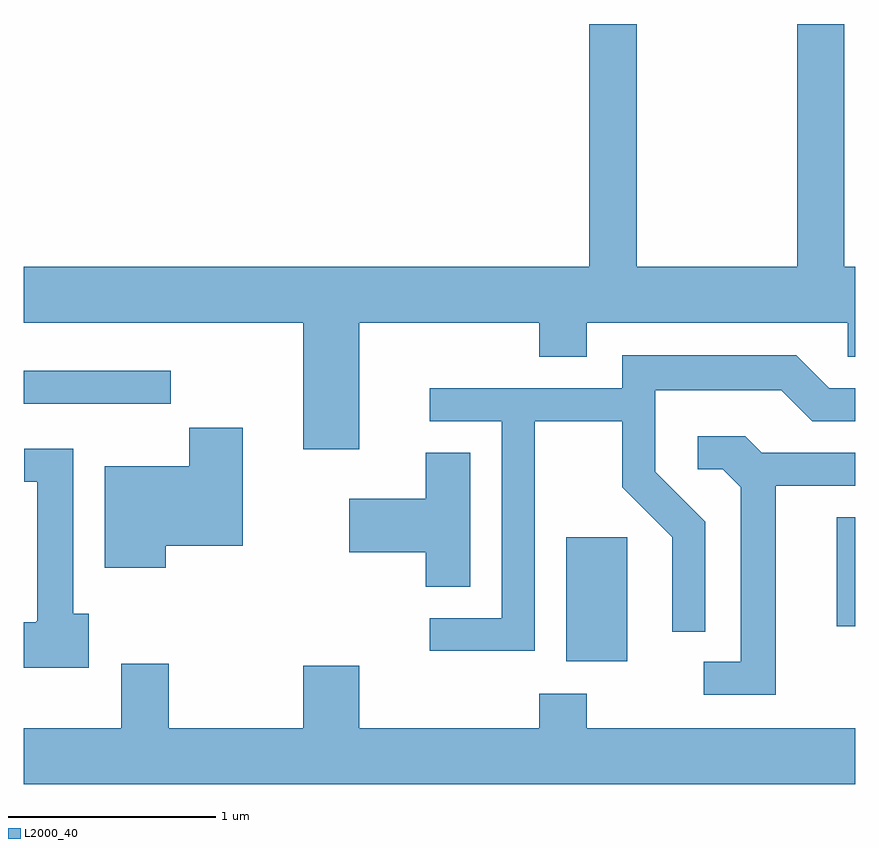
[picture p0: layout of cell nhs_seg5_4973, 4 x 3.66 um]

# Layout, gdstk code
import gdstk
lib = gdstk.Library(unit=1e-6, precision=1e-09)
def R(c, l, rs):  # rectangles x0, y0, x1, y1
    for r in rs: c.add(gdstk.rectangle(r[:2], r[2:], *l))
def P(c, l, *ps):  # polygons
    for p in ps: c.add(gdstk.Polygon(p, *l))
L2000_40 = (2000, 40)

nhs_seg5_4973 = lib.new_cell('nhs_seg5_4973')
R(nhs_seg5_4973, L2000_40, [(336.221,1393.006,336.514,1393.604), (337.521,1393.176,337.611,1393.699), (333.611,1394.246,334.318,1394.404)])
P(nhs_seg5_4973, L2000_40, [(335.224,1394.636),(336.091,1394.636),(336.091,1394.471),(336.319,1394.471),(336.319,1394.636),(337.576,1394.636),(337.576,1394.471),(337.611,1394.471),(337.611,1394.904),(337.559,1394.904),(337.559,1396.072),(337.331,1396.072),(337.331,1394.904),(336.559,1394.904),(336.559,1396.072),(336.331,1396.072),(336.331,1394.904),(333.611,1394.904),(333.611,1394.636),(334.956,1394.636),(334.956,1394.026),(335.224,1394.026)],
  [(336.069,1394.161),(336.491,1394.161),(336.491,1393.844),(336.731,1393.604),(336.731,1393.148),(336.889,1393.148),(336.889,1393.677),(336.649,1393.917),(336.649,1394.311),(337.254,1394.311),(337.404,1394.161),(337.611,1394.161),(337.611,1394.319),(337.487,1394.319),(337.327,1394.479),(336.491,1394.479),(336.491,1394.319),(335.563,1394.319),(335.563,1394.161),(335.911,1394.161),(335.911,1393.214),(335.563,1393.214),(335.563,1393.056),(336.069,1393.056)],
  [(334.294,1393.561),(334.664,1393.561),(334.664,1394.129),(334.406,1394.129),(334.406,1393.944),(334.001,1393.944),(334.001,1393.456),(334.294,1393.456)],
  [(337.229,1393.851),(337.611,1393.851),(337.611,1394.009),(337.162,1394.009),(337.082,1394.089),(336.853,1394.089),(336.853,1393.931),(336.974,1393.931),(337.061,1393.844),(337.061,1393.004),(336.883,1393.004),(336.883,1392.846),(337.229,1392.846)],
  [(333.924,1393.234),(333.849,1393.234),(333.849,1394.029),(333.613,1394.029),(333.613,1393.871),(333.676,1393.871),(333.676,1393.2),(333.67,1393.2),(333.67,1393.194),(333.611,1393.194),(333.611,1392.976),(333.924,1392.976)],
  [(335.759,1394.009),(335.546,1394.009),(335.546,1393.789),(335.176,1393.789),(335.176,1393.531),(335.546,1393.531),(335.546,1393.366),(335.759,1393.366)],
  [(337.611,1392.684),(336.319,1392.684),(336.319,1392.849),(336.091,1392.849),(336.091,1392.684),(335.224,1392.684),(335.224,1392.984),(334.956,1392.984),(334.956,1392.684),(334.309,1392.684),(334.309,1392.994),(334.081,1392.994),(334.081,1392.684),(333.611,1392.684),(333.611,1392.416),(337.611,1392.416)])

lib.write_gds('nhs_seg5_4973.gds')
